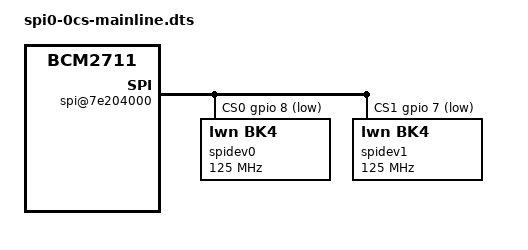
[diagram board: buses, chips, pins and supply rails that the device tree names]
/dts-v1/;
/plugin/;

/{
        compatible = "brcm,bcm2711";
        fragment@0 {
                target-path = "/soc/gpio@7e200000";
                __overlay__ {
                        spi0_pins: spi0_pins {
                                brcm,pins = <0x09 0x0a 0x0b>;
                                brcm,function = <0x04>;
                                phandle = <0x0d>;
                        };

                        spi0_cs_pins: spi0_cs_pins {
                                brcm,pins = <0x08 0x07>;
                                brcm,function = <0x01>;
                                phandle = <0x0e>;
                        };
        };
    };
        fragment@1 {
                target-path = "/soc/spi@7e204000";
                __overlay__ {
             pinctrl-names = "default";
             pinctrl-0 = <&spi0_pins &spi0_cs_pins>;
             cs-gpios = <&gpio 8 1>, <&gpio 7 1>;
             status = "okay";

             spidev0: spidev@0{
                 compatible = "lwn,bk4";
                 reg = <0>;      /* CE0 */
                 #address-cells = <1>;
                 #size-cells = <0>;
                 spi-max-frequency = <125000000>;
             };

             spidev1: spidev@1{
                 compatible = "lwn,bk4";
                 reg = <1>;      /* CE1 */
                 #address-cells = <1>;
                 #size-cells = <0>;
                 spi-max-frequency = <125000000>;
             };
                };
        };
};
